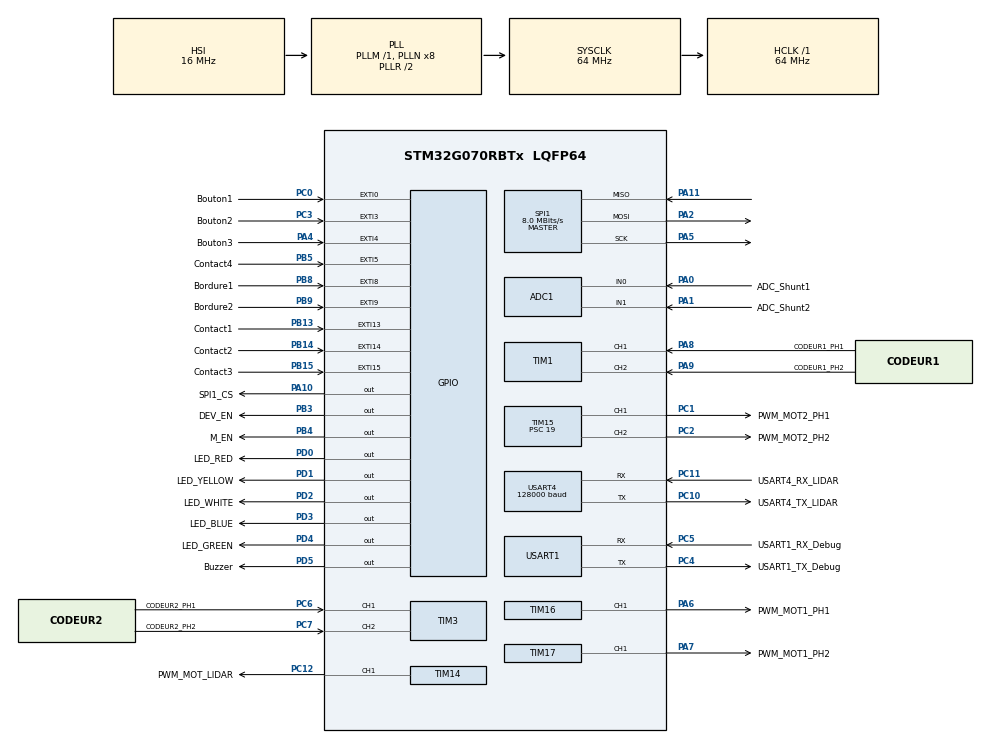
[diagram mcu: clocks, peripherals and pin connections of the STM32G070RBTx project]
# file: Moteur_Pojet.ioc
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ADC1.Channel-2\#ChannelRegularConversion=ADC_CHANNEL_0
ADC1.Channel-3\#ChannelRegularConversion=ADC_CHANNEL_1
ADC1.ContinuousConvMode=ENABLE
ADC1.DMAContinuousRequests=DISABLE
ADC1.ExternalTrigConv=ADC_SOFTWARE_START
ADC1.NbrOfConversion=2
ADC1.NbrOfConversionFlag=1
ADC1.Rank-2\#ChannelRegularConversion=1
ADC1.Rank-3\#ChannelRegularConversion=2
ADC1.SamplingTime-2\#ChannelRegularConversion=ADC_SAMPLINGTIME_COMMON_1
ADC1.SamplingTime-3\#ChannelRegularConversion=ADC_SAMPLINGTIME_COMMON_1
ADC1.SamplingTimeCommon1=ADC_SAMPLETIME_79CYCLES_5
ADC1.SamplingTimeCommon2=ADC_SAMPLETIME_79CYCLES_5
ADC1.SelectedChannel=ADC_CHANNEL_0|ADC_CHANNEL_1
ADC1.Sequencer=FULLY_CONFIGURABLE
ADC1.master=1
Dma.ADC1.0.Direction=DMA_PERIPH_TO_MEMORY
Dma.ADC1.0.EventEnable=DISABLE
Dma.ADC1.0.Instance=DMA1_Channel1
Dma.ADC1.0.MemDataAlignment=DMA_MDATAALIGN_HALFWORD
Dma.ADC1.0.MemInc=DMA_MINC_ENABLE
Dma.ADC1.0.Mode=DMA_NORMAL
Dma.ADC1.0.PeriphDataAlignment=DMA_PDATAALIGN_HALFWORD
Dma.ADC1.0.PeriphInc=DMA_PINC_DISABLE
Dma.ADC1.0.Polarity=HAL_DMAMUX_REQ_GEN_RISING
Dma.ADC1.0.Priority=DMA_PRIORITY_LOW
Dma.ADC1.0.RequestNumber=1
Dma.ADC1.0.SignalID=NONE
Dma.ADC1.0.SyncEnable=DISABLE
Dma.ADC1.0.SyncPolarity=HAL_DMAMUX_SYNC_NO_EVENT
Dma.ADC1.0.SyncRequestNumber=1
Dma.ADC1.0.SyncSignalID=NONE
Dma.Request0=ADC1
Mcu.Family=STM32G0
Mcu.Name=STM32G070RBTx
Mcu.Package=LQFP64
NVIC.DMA1_Channel1_IRQn=true\:0\:0\:false\:false\:true\:false\:true\:true
NVIC.EXTI0_1_IRQn=true\:0\:0\:false\:false\:true\:true\:true\:true
NVIC.EXTI2_3_IRQn=true\:0\:0\:false\:false\:true\:true\:true\:true
NVIC.EXTI4_15_IRQn=true\:0\:0\:false\:false\:true\:true\:true\:true
NVIC.TIM1_CC_IRQn=true\:0\:0\:false\:false\:true\:true\:true\:true
NVIC.TIM3_IRQn=true\:0\:0\:false\:false\:true\:true\:true\:true
NVIC.TIM7_IRQn=true\:3\:0\:false\:false\:true\:false\:true\:true
NVIC.TimeBase=TIM7_IRQn
NVIC.TimeBaseIP=TIM7
PA0.GPIO_Label=ADC_Shunt1
PA0.Mode=IN0
PA0.Signal=ADC1_IN0
PA1.GPIO_Label=ADC_Shunt2
PA1.Mode=IN1
PA1.Signal=ADC1_IN1
PA10.GPIO_Label=SPI1_CS
PA10.Signal=GPIO_Output
PA11\ [PA9].Mode=Full_Duplex_Master
PA11\ [PA9].Signal=SPI1_MISO
PA13.Mode=Serial_Wire
PA13.Signal=SYS_SWDIO
PA14-BOOT0.Mode=Serial_Wire
PA14-BOOT0.Signal=SYS_SWCLK
PA2.Mode=Full_Duplex_Master
PA2.Signal=SPI1_MOSI
PA4.GPIO_Label=Bouton3
PA4.GPIO_PuPd=GPIO_PULLUP
PA4.Signal=GPXTI4
PA5.Mode=Full_Duplex_Master
PA5.Signal=SPI1_SCK
PA6.GPIO_Label=PWM_MOT1_PH1
PA6.Signal=S_TIM16_CH1
PA7.GPIO_Label=PWM_MOT1_PH2
PA7.Signal=S_TIM17_CH1
PA8.GPIO_Label=CODEUR1_PH1
PA8.Signal=S_TIM1_CH1
PA9.GPIO_Label=CODEUR1_PH2
PA9.Signal=S_TIM1_CH2
PB13.GPIO_Label=Contact1
PB13.GPIO_PuPd=GPIO_PULLDOWN
PB13.Signal=GPXTI13
PB14.GPIO_Label=Contact2
PB14.GPIO_PuPd=GPIO_PULLDOWN
PB14.Signal=GPXTI14
PB15.GPIO_Label=Contact3
PB15.GPIO_PuPd=GPIO_PULLDOWN
PB15.Signal=GPXTI15
PB3.GPIO_Label=DEV_EN
PB3.Signal=GPIO_Output
PB4.GPIO_Label=M_EN
PB4.Signal=GPIO_Output
PB5.GPIO_Label=Contact4
PB5.GPIO_PuPd=GPIO_PULLDOWN
PB5.Signal=GPXTI5
PB8.GPIO_Label=Bordure1
PB8.GPIO_PuPd=GPIO_PULLUP
PB8.Signal=GPXTI8
PB9.GPIO_Label=Bordure2
PB9.GPIO_PuPd=GPIO_PULLDOWN
PB9.Signal=GPXTI9
PC0.GPIO_Label=Bouton1
PC0.GPIO_PuPd=GPIO_PULLUP
PC0.Signal=GPXTI0
PC1.GPIO_Label=PWM_MOT2_PH1
PC1.Signal=S_TIM15_CH1
PC10.GPIO_Label=USART4_TX_LIDAR
PC10.Mode=Asynchronous
PC10.Signal=USART4_TX
PC11.GPIO_Label=USART4_RX_LIDAR
PC11.Mode=Asynchronous
PC11.Signal=USART4_RX
PC12.GPIO_Label=PWM_MOT_LIDAR
PC12.Signal=S_TIM14_CH1
PC2.GPIO_Label=PWM_MOT2_PH2
PC2.Signal=S_TIM15_CH2
PC3.GPIO_Label=Bouton2
PC3.GPIO_PuPd=GPIO_PULLUP
PC3.Signal=GPXTI3
PC4.GPIO_Label=USART1_TX_Debug
PC4.Mode=Asynchronous
PC4.Signal=USART1_TX
PC5.GPIO_Label=USART1_RX_Debug
PC5.Mode=Asynchronous
PC5.Signal=USART1_RX
PC6.GPIO_Label=CODEUR2_PH1
PC6.Signal=S_TIM3_CH1
PC7.GPIO_Label=CODEUR2_PH2
PC7.Signal=S_TIM3_CH2
PD0.GPIO_Label=LED_RED
PD0.Signal=GPIO_Output
PD1.GPIO_Label=LED_YELLOW
PD1.Signal=GPIO_Output
PD2.GPIO_Label=LED_WHITE
PD2.Signal=GPIO_Output
PD3.GPIO_Label=LED_BLUE
PD3.Signal=GPIO_Output
PD4.GPIO_Label=LED_GREEN
PD4.Signal=GPIO_Output
PD5.GPIO_Label=Buzzer
PD5.Signal=GPIO_Output
PF0-OSC_IN\ (PF0).Mode=HSE-External-Oscillator
PF0-OSC_IN\ (PF0).Signal=RCC_OSC_IN
PF1-OSC_OUT\ (PF1).Mode=HSE-External-Oscillator
PF1-OSC_OUT\ (PF1).Signal=RCC_OSC_OUT
ProjectManager.HeapSize=0x200
ProjectManager.StackSize=0x400
ProjectManager.TargetToolchain=STM32CubeIDE
RCC.ADCFreq_Value=64000000
RCC.AHBFreq_Value=64000000
RCC.CortexFreq_Value=64000000
RCC.EXTERNAL_CLOCK_VALUE=48000
RCC.HCLKFreq_Value=64000000
RCC.HSE_VALUE=16000000
RCC.HSI_VALUE=16000000
RCC.LSE_VALUE=32768
RCC.SYSCLKFreq_VALUE=64000000
RCC.SYSCLKSource=RCC_SYSCLKSOURCE_PLLCLK
RCC.VCOOutputFreq_Value=128000000
SH.S_TIM14_CH1.0=TIM14_CH1,PWM Generation1 CH1
SH.S_TIM15_CH1.0=TIM15_CH1,PWM Generation1 CH1
SH.S_TIM15_CH2.0=TIM15_CH2,PWM Generation2 CH2
SH.S_TIM16_CH1.0=TIM16_CH1,PWM Generation1 CH1
SH.S_TIM17_CH1.0=TIM17_CH1,PWM Generation1 CH1
SH.S_TIM1_CH1.0=TIM1_CH1,Encoder_Interface
SH.S_TIM1_CH2.0=TIM1_CH2,Encoder_Interface
SH.S_TIM3_CH1.0=TIM3_CH1,Encoder_Interface
SH.S_TIM3_CH2.0=TIM3_CH2,Encoder_Interface
SPI1.BaudRatePrescaler=SPI_BAUDRATEPRESCALER_8
SPI1.CalculateBaudRate=8.0 MBits/s
SPI1.Direction=SPI_DIRECTION_2LINES
SPI1.Mode=SPI_MODE_MASTER
SPI1.VirtualType=VM_MASTER
TIM1.EncoderMode=TIM_ENCODERMODE_TI12
TIM1.IC1Polarity=TIM_ICPOLARITY_FALLING
TIM1.IC2Polarity=TIM_ICPOLARITY_FALLING
TIM14.Channel=TIM_CHANNEL_1
TIM15.Channel-PWM\ Generation1\ CH1=TIM_CHANNEL_1
TIM15.Channel-PWM\ Generation2\ CH2=TIM_CHANNEL_2
TIM15.Period=999
TIM15.Prescaler=19
TIM16.Channel=TIM_CHANNEL_1
TIM16.Period=999
TIM16.Prescaler=19
TIM17.Channel=TIM_CHANNEL_1
TIM17.Period=999
TIM17.Prescaler=19
TIM3.EncoderMode=TIM_ENCODERMODE_TI12
TIM3.IC1Polarity=TIM_ICPOLARITY_FALLING
TIM3.IC2Polarity=TIM_ICPOLARITY_FALLING
TIM6.Period=99
TIM6.Prescaler=63999
TIM6.TIM_MasterOutputTrigger=TIM_TRGO_UPDATE
USART1.VirtualMode-Asynchronous=VM_ASYNC
USART4.BaudRate=128000
USART4.VirtualMode-Asynchronous=VM_ASYNC
VP_SYS_VS_DBSignals.Mode=DisableDeadBatterySignals
VP_SYS_VS_tim7.Mode=TIM7
VP_TIM14_VS_ClockSourceINT.Mode=Enable_Timer
VP_TIM16_VS_ClockSourceINT.Mode=Enable_Timer
VP_TIM17_VS_ClockSourceINT.Mode=Enable_Timer
VP_TIM6_VS_ClockSourceINT.Mode=Enable_Timer
board=custom

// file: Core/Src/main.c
/* USER CODE BEGIN Header */
/**
 ******************************************************************************
 * @file           : main.c
 * @brief          : Main program body
 ******************************************************************************
 * @attention
 *
 * Copyright (c) 2023 STMicroelectronics.
 * All rights reserved.
 *
 * This software is licensed under terms that can be found in the LICENSE file
 * in the root directory of this software component.
 * If no LICENSE file comes with this software, it is provided AS-IS.
 *
 ******************************************************************************
 */
/* USER CODE END Header */
#include "main.h"
#include "adc.h"
#include "dma.h"
#include "spi.h"
#include "tim.h"
#include "usart.h"
#include "gpio.h"

/* USER CODE BEGIN Includes */
#include "pwm.h"
#include "encoder.h"
#include "bouton.h"
/* USER CODE END Includes */

/* USER CODE BEGIN PD */
#define ADC_BUF_SIZE 2
#define STACK_SIZE 1000
/* USER CODE END PD */

/* USER CODE BEGIN PV */
uint16_t ADC_buffer[ADC_BUF_SIZE];

int counter =0;
int val[10];
int counter_val=0;
int moyenne_f=0;
int courant = 0;
int alpha_test = 500;
extern CAPT capteurs;

/* USER CODE END PV */

void SystemClock_Config(void);

int main(void)
{
	/* USER CODE BEGIN 1 */
	/*

	BaseType_t xReturned;
	TaskHandle_t xHandleTaskInit = NULL;

	 */
	/* USER CODE END 1 */

	/* MCU Configuration--------------------------------------------------------*/

	/* Reset of all peripherals, Initializes the Flash interface and the Systick. */
	HAL_Init();

	/* Configure the system clock */
	SystemClock_Config();

	/* Initialize all configured peripherals */
	MX_GPIO_Init();
	MX_DMA_Init();
	MX_ADC1_Init();
	MX_TIM1_Init();
	MX_TIM3_Init();
	MX_TIM14_Init();
	MX_TIM15_Init();
	MX_TIM16_Init();
	MX_TIM17_Init();
	MX_USART1_UART_Init();
	MX_USART4_UART_Init();
	MX_SPI1_Init();
	MX_TIM6_Init();
	/* USER CODE BEGIN 2 */

	HAL_ADCEx_Calibration_Start(&hadc1);
	/*if(HAL_OK != HAL_ADC_Start_DMA(&hadc1, ADC_buffer, ADC_BUF_SIZE)){
		Error_Handler();
	}
	 */

	//=============================== Création des taches ===========================================
	/*xReturned = xTaskCreate(
			TaskMain, // Function that implements the task.
			"TaskGive", // Text name for the task.
			STACK_SIZE, // Stack size in words, not bytes.
			(void *) NULL, // Parameter passed into the task.
			configMAX_PRIORITIES -1,// Priority at which the task is created.
			&xHandleTaskInit); // Used to pass out the created task's handle.

	if (xReturned != pdPASS)
	{
		Error_Handler();
	}

	xReturned = xTaskCreate(
			TaskMain, // Function that implements the task.
			"TaskGive", // Text name for the task.
			STACK_SIZE, // Stack size in words, not bytes.
			(void *) NULL, // Parameter passed into the task.
			configMAX_PRIORITIES -1,// Priority at which the task is created.
			&xHandleTaskInit); // Used to pass out the created task's handle.

	if (xReturned != pdPASS)
	{
		Error_Handler();
	}

	 */
	//=============================== Fin de création des taches =======================================

	HAL_TIM_Base_Start(&htim6);

	codeur_start();

	Motor_drv moteur1,moteur2;
	motor_Init(&moteur1,&moteur2);
	moteur1.sens = 1;
	moteur1.alpha = alpha_test;
	moteur1.update(moteur1);

	moteur1.pwm_start(moteur1.Timer_Backward,moteur1.Channel_Backward);
	moteur1.pwm_start(moteur1.Timer_Forward,moteur1.Channel_Forward);

	moteur2.sens = 2;
	moteur2.alpha = alpha_test;
	moteur2.update(moteur2);

	moteur2.pwm_start(moteur2.Timer_Backward,moteur2.Channel_Backward);
	moteur2.pwm_start(moteur2.Timer_Forward,moteur2.Channel_Forward);

	/*
	for (alpha_test; alpha_test<800; alpha_test++){
		moteur1.alpha = alpha_test;
		moteur1.update(moteur1);
		moteur2.alpha = alpha_test;
		moteur2.update(moteur2);
		HAL_Delay(5);
	}

	for (alpha_test; alpha_test>0; alpha_test--){
		moteur1.alpha = alpha_test;
		moteur1.update(moteur1);
		moteur2.alpha = alpha_test;
		moteur2.update(moteur2);
		HAL_Delay(5);
	}

	moteur1.sens = 2;
	for (alpha_test; alpha_test<800; alpha_test++){
		moteur1.alpha = alpha_test;
		moteur1.update(moteur1);
		moteur2.alpha = alpha_test;
		moteur2.update(moteur2);
		HAL_Delay(5);
	}

	moteur1.pwm_stop(moteur1.Timer_Backward,moteur1.Channel_Backward);
	moteur1.pwm_stop(moteur1.Timer_Forward,moteur1.Channel_Forward);
	moteur2.pwm_stop(moteur2.Timer_Backward,moteur2.Channel_Backward);
	moteur2.pwm_stop(moteur2.Timer_Forward,moteur2.Channel_Forward);

	 */

	//vTaskStartScheduler();
	/* USER CODE END 2 */

	/* Infinite loop */
	while (1)
	{

		/* USER CODE BEGIN 3 */
		moteur1.alpha = 500;
		moteur1.sens = 1;
		moteur1.update(moteur1);
		moteur2.alpha = 500;
		moteur2.sens = 2;
		moteur2.update(moteur2);

		if (capteurs.BORDURE_1==TRUE){

			moteur1.sens = 2;
			moteur2.sens = 1;
			moteur1.alpha = 300;
			moteur2.alpha = 300;
			moteur1.update(moteur1);
			moteur2.update(moteur2);

			for (int i = 300; i<800; i++){
				moteur1.alpha = i;
				moteur1.update(moteur1);
				moteur2.alpha = i;
				moteur2.update(moteur2);
				HAL_Delay(5);
			}
			moteur1.sens = 2;
			moteur2.sens = 2;
			moteur1.update(moteur1);
			moteur2.update(moteur2);
			for (int i = 300; i<500; i++){
				moteur1.alpha = i;
				moteur1.update(moteur1);
				moteur2.alpha = i;
				moteur2.update(moteur2);
				HAL_Delay(5);
			}

			capteurs.BORDURE_1 = FALSE;
		}

		/*
		ADC_Select_CH0();
		HAL_ADC_Start(&hadc1);
		HAL_ADC_PollForConversion(&hadc1, 1000);
		ADC_buffer[0] = HAL_ADC_GetValue(&hadc1);
		HAL_ADC_Stop(&hadc1);

		HAL_Delay(10);

		ADC_Select_CH1();
		HAL_ADC_Start(&hadc1);
		HAL_ADC_PollForConversion(&hadc1, 1000);
		ADC_buffer[1] = HAL_ADC_GetValue(&hadc1);
		HAL_ADC_Stop(&hadc1);
		counter ++;
		HAL_Delay(10);
		if (counter_val == 10){
			int temp=0;
			for (int i = 0 ; i<10;i++){
				temp += val[i];
			}
			moyenne_f = temp/10;
			courant = (moyenne_f - 2640)*10/25;
			counter_val=0;
		}
		val[counter_val]=ADC_buffer[0];
		counter_val++;

		 */
		/*if (counter == 500){
			moteur1.pwm_stop(moteur1.Timer,moteur1.Channel_Backward);
			moteur1.pwm_stop(moteur1.Timer,moteur1.Channel_Forward);

			HAL_TIM_PWM_Stop(&htim16, TIM_CHANNEL_1);
			HAL_TIM_PWM_Stop(&htim17, TIM_CHANNEL_1);

		}
		if (counter == 1000){
			moteur1.pwm_start(moteur1.Timer,moteur1.Channel_Backward);
			moteur1.pwm_start(moteur1.Timer,moteur1.Channel_Forward);
			HAL_TIM_PWM_Start(&htim16, TIM_CHANNEL_1);
			HAL_TIM_PWM_Start(&htim17, TIM_CHANNEL_1);
			counter =0;
		}*/
	}
	/* USER CODE END 3 */
}

void SystemClock_Config(void)
{
	RCC_OscInitTypeDef RCC_OscInitStruct = {0};
	RCC_ClkInitTypeDef RCC_ClkInitStruct = {0};

	/** Configure the main internal regulator output voltage
	 */
	HAL_PWREx_ControlVoltageScaling(PWR_REGULATOR_VOLTAGE_SCALE1);

	/** Initializes the RCC Oscillators according to the specified parameters
	 * in the RCC_OscInitTypeDef structure.
	 */
	RCC_OscInitStruct.OscillatorType = RCC_OSCILLATORTYPE_HSI;
	RCC_OscInitStruct.HSIState = RCC_HSI_ON;
	RCC_OscInitStruct.HSIDiv = RCC_HSI_DIV1;
	RCC_OscInitStruct.HSICalibrationValue = RCC_HSICALIBRATION_DEFAULT;
	RCC_OscInitStruct.PLL.PLLState = RCC_PLL_ON;
	RCC_OscInitStruct.PLL.PLLSource = RCC_PLLSOURCE_HSI;
	RCC_OscInitStruct.PLL.PLLM = RCC_PLLM_DIV1;
	RCC_OscInitStruct.PLL.PLLN = 8;
	RCC_OscInitStruct.PLL.PLLP = RCC_PLLP_DIV2;
	RCC_OscInitStruct.PLL.PLLR = RCC_PLLR_DIV2;
	if (HAL_RCC_OscConfig(&RCC_OscInitStruct) != HAL_OK)
	{
		Error_Handler();
	}

	/** Initializes the CPU, AHB and APB buses clocks
	 */
	RCC_ClkInitStruct.ClockType = RCC_CLOCKTYPE_HCLK|RCC_CLOCKTYPE_SYSCLK
			|RCC_CLOCKTYPE_PCLK1;
	RCC_ClkInitStruct.SYSCLKSource = RCC_SYSCLKSOURCE_PLLCLK;
	RCC_ClkInitStruct.AHBCLKDivider = RCC_SYSCLK_DIV1;
	RCC_ClkInitStruct.APB1CLKDivider = RCC_HCLK_DIV1;

	if (HAL_RCC_ClockConfig(&RCC_ClkInitStruct, FLASH_LATENCY_2) != HAL_OK)
	{
		Error_Handler();
	}
}

/* USER CODE BEGIN 4 */
void HAL_ADC_ConvCpltCallback(ADC_HandleTypeDef *hadc){
	if(HAL_ADC_Stop_DMA(&hadc1)!= HAL_OK){
		Error_Handler();

	}
}
/* USER CODE END 4 */

void HAL_TIM_PeriodElapsedCallback(TIM_HandleTypeDef *htim)
{
	if (htim->Instance == TIM7) {
		HAL_IncTick();
	}
}

void Error_Handler(void)
{
	/* USER CODE BEGIN Error_Handler_Debug */
	/* User can add his own implementation to report the HAL error return state */
	__disable_irq();
	while (1)
	{
		HAL_GPIO_TogglePin(LED_RED_GPIO_Port, LED_RED_Pin);
		HAL_GPIO_TogglePin(LED_WHITE_GPIO_Port, LED_WHITE_Pin);
		HAL_GPIO_TogglePin(LED_BLUE_GPIO_Port, LED_BLUE_Pin);
		HAL_GPIO_TogglePin(LED_YELLOW_GPIO_Port, LED_YELLOW_Pin);
		HAL_GPIO_TogglePin(LED_GREEN_GPIO_Port, LED_GREEN_Pin);
		HAL_Delay(500);
	}
	/* USER CODE END Error_Handler_Debug */
}
